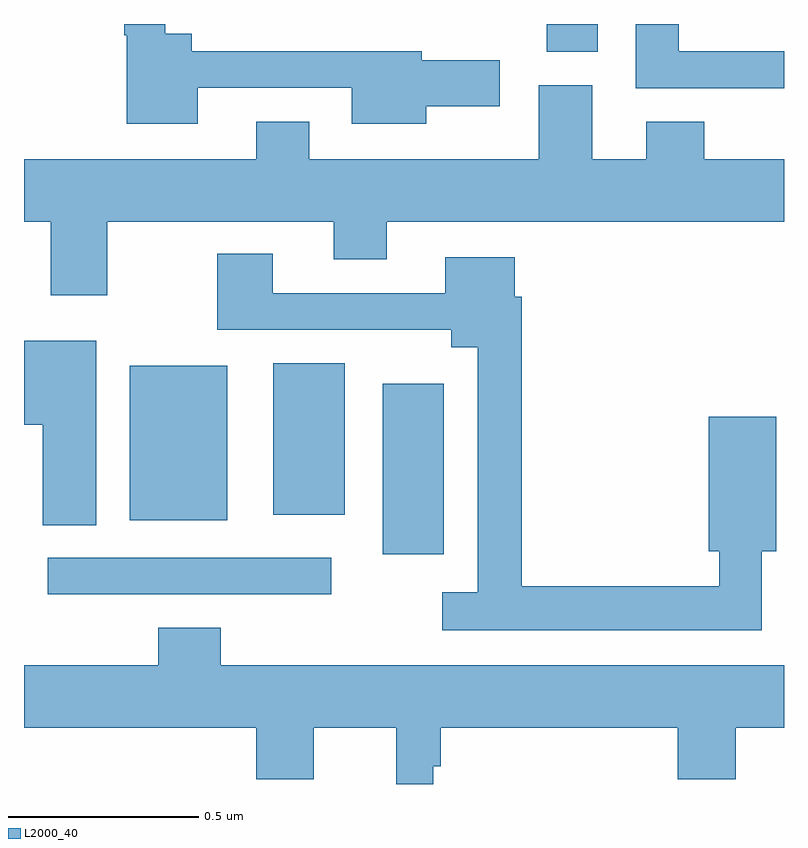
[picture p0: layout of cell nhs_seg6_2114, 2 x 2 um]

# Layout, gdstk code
import gdstk
lib = gdstk.Library(unit=1e-6, precision=1e-09)
def R(c, l, rs):  # rectangles x0, y0, x1, y1
    for r in rs: c.add(gdstk.rectangle(r[:2], r[2:], *l))
def P(c, l, *ps):  # polygons
    for p in ps: c.add(gdstk.Polygon(p, *l))
L2000_40 = (2000, 40)

nhs_seg6_2114 = lib.new_cell('nhs_seg6_2114')
R(nhs_seg6_2114, L2000_40, [(138.063,969,138.808,969.096), (138.944,969.105,139.105,969.553), (138.278,969.194,138.535,969.601), (138.656,969.209,138.844,969.607), (139.376,970.427,139.51,970.5)])
P(nhs_seg6_2114, L2000_40, [(140,970.428),(139.723,970.428),(139.723,970.5),(139.61,970.5),(139.61,970.331),(140,970.331)],
  [(138.457,970.332),(138.863,970.332),(138.863,970.238),(139.059,970.238),(139.059,970.283),(139.252,970.283),(139.252,970.405),(139.047,970.405),(139.047,970.428),(138.442,970.428),(138.442,970.474),(138.372,970.474),(138.372,970.5),(138.264,970.5),(138.264,970.47),(138.271,970.47),(138.271,970.238),(138.457,970.238)],
  [(138.219,969.98),(138.815,969.98),(138.815,969.881),(138.955,969.881),(138.955,969.98),(140,969.98),(140,970.144),(139.79,970.144),(139.79,970.243),(139.637,970.243),(139.637,970.144),(139.495,970.144),(139.495,970.339),(139.355,970.339),(139.355,970.144),(138.751,970.144),(138.751,970.243),(138.611,970.243),(138.611,970.144),(138,970.144),(138,969.98),(138.071,969.98),(138.071,969.786),(138.219,969.786)],
  [(139.942,969.113),(139.98,969.113),(139.98,969.466),(139.802,969.466),(139.802,969.113),(139.829,969.113),(139.829,969.02),(139.31,969.02),(139.31,969.782),(139.291,969.782),(139.291,969.886),(139.109,969.886),(139.109,969.792),(138.655,969.792),(138.655,969.895),(138.508,969.895),(138.508,969.696),(139.124,969.696),(139.124,969.65),(139.194,969.65),(139.194,969.004),(139.101,969.004),(139.101,968.904),(139.942,968.904)],
  [(138.19,969.667),(138,969.667),(138,969.446),(138.049,969.446),(138.049,969.181),(138.19,969.181)],
  [(139.077,968.547),(139.097,968.547),(139.097,968.648),(139.721,968.648),(139.721,968.512),(139.873,968.512),(139.873,968.648),(140,968.648),(140,968.812),(138.518,968.812),(138.518,968.911),(138.353,968.911),(138.353,968.812),(138,968.812),(138,968.648),(138.611,968.648),(138.611,968.512),(138.763,968.512),(138.763,968.648),(138.98,968.648),(138.98,968.5),(139.077,968.5)])

lib.write_gds('nhs_seg6_2114.gds')
